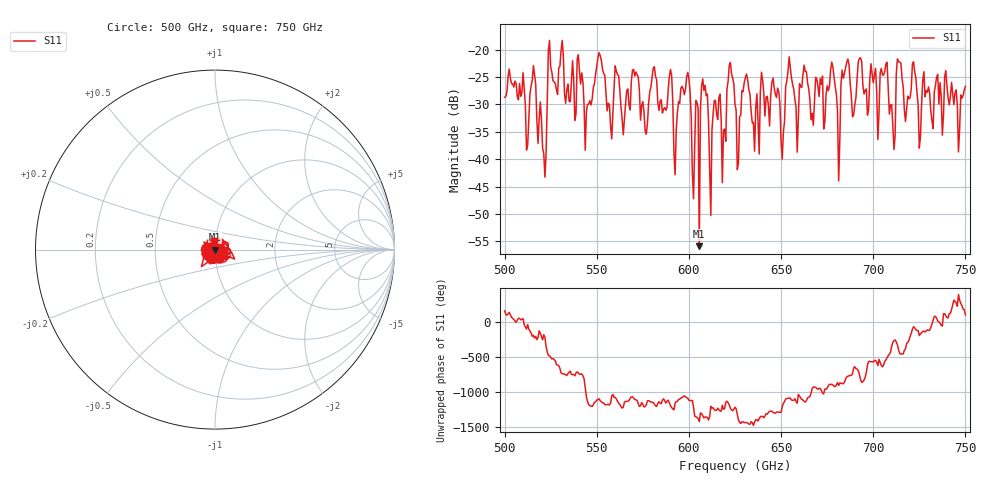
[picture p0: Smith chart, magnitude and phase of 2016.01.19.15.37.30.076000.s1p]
!Created with skrf (http://scikit-rf.org).
# GHz S RI R 50.0
!freq ReS11 ImS11
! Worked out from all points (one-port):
!   401 points, 500 GHz to 750 GHz, reference 50 ohm
!   lowest |S11| = -55.9 dB at 605.6 GHz (marker M1), VSWR 1.00, Z = 50.2 + j0.0299 ohm
!   |S11| at or under -10 dB: start of sweep to end of sweep
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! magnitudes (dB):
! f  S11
! 500 GHz  -28.7
! 512.5 GHz  -37.5
! 515.6 GHz  -22.9
! 521.2 GHz  -39.0
! 524.4 GHz  -18.3
! 531.2 GHz  -18.3
! 544.4 GHz  -31.3
! 551.2 GHz  -20.6
! 556.9 GHz  -30.1
! 562.5 GHz  -27.4
! 593.8 GHz  -31.4
! 599.4 GHz  -24.2
! 601.9 GHz  -42.7
! 605.6 GHz  -55.9
! 608.1 GHz  -27.5
! 611.9 GHz  -50.3
! 615.6 GHz  -32.8
! 618.8 GHz  -34.8
! 622.5 GHz  -22.4
! 625 GHz  -30.0
! 646.2 GHz  -27.0
! 650.6 GHz  -40.0
! 656.2 GHz  -26.3
! 678.1 GHz  -23.2
! 680.6 GHz  -31.3
! 687.5 GHz  -26.2
! 718.8 GHz  -28.5
! 750 GHz  -26.7
